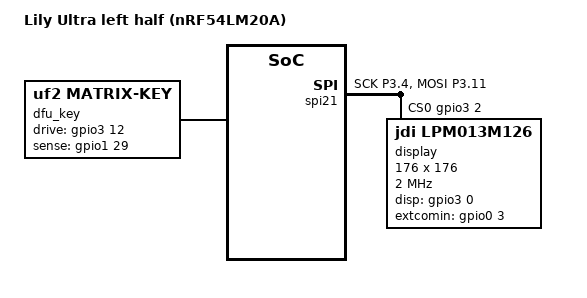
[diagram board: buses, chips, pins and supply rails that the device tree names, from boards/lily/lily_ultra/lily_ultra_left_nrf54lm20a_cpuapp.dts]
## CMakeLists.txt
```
# SPDX-License-Identifier: MIT

cmake_minimum_required(VERSION 3.20.0)

# Lily Ultra board definitions and the uf2,matrix-key binding live here.
list(APPEND BOARD_ROOT ${CMAKE_CURRENT_SOURCE_DIR})
list(APPEND DTS_ROOT ${CMAKE_CURRENT_SOURCE_DIR})

find_package(Zephyr REQUIRED HINTS $ENV{ZEPHYR_BASE})
project(uf2_bootloader LANGUAGES C)

target_sources(app PRIVATE
    src/main.c
    src/vregusb_reset.c
    src/app_image.c
    src/boot_entry.c
    src/uf2_status.c
    src/uf2_writer.c
    src/usbd_setup.c
    src/ghostfat.c
    src/ghostfat_disk.c
    src/board_flash.c
    src/indicator.c
)

target_sources_ifdef(CONFIG_UF2_DISPLAY app PRIVATE
    src/display/lpm_panel.c
    src/display/gfx.c
    src/display/fonts.c
    src/display/ui.c
    src/display/ui_render.c
)

zephyr_linker_sources(SECTIONS src/sections-rom.ld)

target_include_directories(app PRIVATE src)
```

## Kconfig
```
# SPDX-License-Identifier: MIT

mainmenu "UF2 Bootloader"

source "Kconfig.zephyr"

menu "UF2 Bootloader options"

config UF2_USBD_VID
    hex "USB Vendor ID"
    default 0x1915
    help
      Default 0x1915 is Nordic Semiconductor's VID, which Nordic permits
      for development on their parts. The PID below is a placeholder; both
      should be replaced with an assigned VID/PID before shipping. Most
      hosts only key off VID/PID for driver matching.

config UF2_USBD_PID
    hex "USB Product ID"
    default 0x3e85

config UF2_USBD_MANUFACTURER
    string "USB manufacturer string"
    default "ZMK"

config UF2_USBD_PRODUCT
    string "USB product string"
    default "ZMK UF2 Bootloader"

config UF2_DOUBLE_TAP
    bool "Enter DFU on a double reset"
    default y
    help
      On every normal boot, arm the boot-mode flag and wait
      UF2_DOUBLE_TAP_DELAY_MS before starting the app; a second reset
      inside that window enters DFU. Costs that delay on every boot, so
      turn it off on boards without a reset button.

config UF2_DOUBLE_TAP_DELAY_MS
    int "Double-tap detection window (ms)"
    depends on UF2_DOUBLE_TAP
    default 500
    range 100 5000

config UF2_REBOOT_IDLE_MS
    int "Host idle time before rebooting after an update (ms)"
    default 200
    help
      After the image is committed, keep serving the disk and reboot once
      the host has issued no reads or writes for this long, so it can
      finish the copy (directory entry, FAT, final status). Rebooting
      earlier makes Windows report the copy as failed.

config UF2_REBOOT_MAX_MS
    int "Reboot at the latest this long after an update (ms)"
    default 3000
    help
      Upper bound for hosts that keep accessing the disk.

DT_CHOSEN_UF2_DISPLAY := zephyr,display

config UF2_DISPLAY
    bool "Status UI on the JDI LPM013M126A memory LCD"
    default y if $(dt_chosen_enabled,$(DT_CHOSEN_UF2_DISPLAY))
    select SPI
    help
      Show bootloader state and update progress on the display chosen
      as zephyr,display (compatible jdi,lpm013m126). Only used in DFU
      mode; a normal boot never touches the display.

if UF2_DISPLAY

config UF2_DISPLAY_BADGE
    string "Small label at the top of the screen (e.g. LEFT)"
    default ""

endif

config UF2_BOARD_ID
    string "Board ID string for INFO_UF2.TXT"
    default "ZMK-nRF54LM20-v0"

config UF2_PRODUCT_NAME
    string "Product name for INFO_UF2.TXT"
    default "ZMK nRF54LM20 Bootloader"

config UF2_VOLUME_LABEL
    string "FAT volume label (11 chars, padded)"
    default "54LM20BOOT "

config UF2_INDEX_URL
    string "URL placed in INDEX.HTM"
    default "https://zmk.dev/"

config UF2_FAMILY_ID
    hex "UF2 family ID for this board"
    default 0x4ED75C3F
    help
      Unique 32-bit family ID for this board. Used by the host-side UF2
      tooling to refuse images built for a different chip family. Should
      eventually be registered at https://github.com/microsoft/uf2.

config UF2_NUM_BLOCKS
    int "Number of 512-byte sectors in the synthesized FAT16 volume"
    default 65801
    help
      Must result in a FAT16 cluster count >= 0x1015 and < 0xFFD5. The
      default (0x10109) yields a 32 MiB virtual disk, matching tinyuf2.

endmenu
```

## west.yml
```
# Only the modules an nRF54LM20 BL with USB MSC actually needs.
# name-allowlist is more conservative than blocklist — new upstream
# modules can't silently leak in.
#
#   cmsis_6      — Cortex-M33 (nRF54L)
#   hal_nordic   — Nordic Semi HAL (nrfx + soc support)
#   picolibc     — Zephyr's default libc
#   segger       — RTT (still referenced even when console uses UART)
#
# Add more (zcbor, mbedtls, …) here if a build error surfaces them.

manifest:
  remotes:
    - name: upstream
      url-base: https://github.com/zephyrproject-rtos
  projects:
    - name: zephyr
      remote: upstream
      revision: v4.4.2
      import:
        name-allowlist:
          - cmsis_6
          - hal_nordic
          - picolibc
          - segger
  self:
    path: bootloader
```

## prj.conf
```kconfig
CONFIG_USE_DT_CODE_PARTITION=y

CONFIG_USB_DEVICE_STACK_NEXT=y
CONFIG_USBD_MSC_CLASS=y
CONFIG_USBD_MSC_LUNS_PER_INSTANCE=1
# Big SCSI buffers so a high-speed host can stream multi-sector WRITE(10)s;
# with double buffering USB fills one while the other is written to RRAM.
CONFIG_USBD_MSC_SCSI_BUFFER_SIZE=16384
CONFIG_USBD_MSC_DOUBLE_BUFFERING=y

CONFIG_DISK_DRIVERS=y

CONFIG_GPIO=y
CONFIG_PWM=y

CONFIG_FLASH=y
CONFIG_FLASH_MAP=y
CONFIG_STREAM_FLASH=n
# Use the full RRAMC write buffer (32 x 128-bit words) instead of
# committing every word individually.
CONFIG_NRF_RRAM_WRITE_BUFFER_SIZE=32

# Zephyr boot-mode retention (shared with ZMK's &bootloader).
CONFIG_RETAINED_MEM=y
CONFIG_RETENTION=y
CONFIG_RETENTION_BOOT_MODE=y

CONFIG_REBOOT=y
CONFIG_HWINFO=y
CONFIG_CACHE_MANAGEMENT=y

CONFIG_MAIN_STACK_SIZE=2048
CONFIG_SYSTEM_WORKQUEUE_STACK_SIZE=2048

CONFIG_BT=n

CONFIG_LOG=y
CONFIG_LOG_MODE_MINIMAL=y
CONFIG_LOG_DEFAULT_LEVEL=2
CONFIG_USBD_LOG_LEVEL_WRN=y
CONFIG_UDC_DRIVER_LOG_LEVEL_WRN=y

# The bootloader drives the LPM013M126A itself (src/display/lpm_panel.c);
# keep Zephyr's driver for that compatible out.
CONFIG_LPM013M126=n
```

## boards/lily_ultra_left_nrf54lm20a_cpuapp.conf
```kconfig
# No reset button on Lily Ultra: enter DFU with ZMK's &bootloader or by
# holding the outermost top key while plugging in. Skip the boot delay.
CONFIG_UF2_DOUBLE_TAP=n

# No UART broken out; logs go over SWD via RTT.
CONFIG_SERIAL=n
CONFIG_UART_CONSOLE=n
CONFIG_CONSOLE=y
CONFIG_USE_SEGGER_RTT=y
CONFIG_RTT_CONSOLE=y
CONFIG_SEGGER_RTT_BUFFER_SIZE_UP=4096

CONFIG_UF2_BOARD_ID="Lily-Ultra-left-v1"
CONFIG_UF2_PRODUCT_NAME="Lily Ultra (left)"
CONFIG_UF2_USBD_PRODUCT="Lily Ultra UF2 Bootloader"
CONFIG_UF2_USBD_MANUFACTURER="Lily"
CONFIG_UF2_VOLUME_LABEL="LILYULTRA  "
CONFIG_UF2_DISPLAY_BADGE="LEFT"
```

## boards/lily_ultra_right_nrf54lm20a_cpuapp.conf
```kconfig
# No reset button on Lily Ultra: enter DFU with ZMK's &bootloader or by
# holding the outermost top key while plugging in. Skip the boot delay.
CONFIG_UF2_DOUBLE_TAP=n

# No UART broken out; logs go over SWD via RTT.
CONFIG_SERIAL=n
CONFIG_UART_CONSOLE=n
CONFIG_CONSOLE=y
CONFIG_USE_SEGGER_RTT=y
CONFIG_RTT_CONSOLE=y
CONFIG_SEGGER_RTT_BUFFER_SIZE_UP=4096

CONFIG_UF2_BOARD_ID="Lily-Ultra-right-v1"
CONFIG_UF2_PRODUCT_NAME="Lily Ultra (right)"
CONFIG_UF2_USBD_PRODUCT="Lily Ultra UF2 Bootloader"
CONFIG_UF2_USBD_MANUFACTURER="Lily"
CONFIG_UF2_VOLUME_LABEL="LILYULTRA  "
CONFIG_UF2_DISPLAY_BADGE="RIGHT"
```

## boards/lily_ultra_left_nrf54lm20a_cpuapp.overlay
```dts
/*
 * SPDX-License-Identifier: MIT
 *
 * The board links applications into slot0; the bootloader itself lives
 * in boot_partition.
 */

/ {
	chosen {
		zephyr,code-partition = &boot_partition;
	};
};
```

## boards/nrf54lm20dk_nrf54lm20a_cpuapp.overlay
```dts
/*
 * SPDX-License-Identifier: MIT
 *
 * Same layout as Lily Ultra so DK-built apps match:
 *
 *   0x000000  128 KiB   UF2 bootloader
 *   0x020000  1808 KiB  application
 *   0x1e4000  100 KiB   settings storage
 */

/delete-node/ &boot_partition;
/delete-node/ &slot0_partition;
/delete-node/ &slot1_partition;
/delete-node/ &storage_partition;

&cpuapp_rram {
	partitions {
		boot_partition: partition@0 {
			compatible = "zephyr,mapped-partition";
			label = "uf2-bootloader";
			reg = <0x000000 DT_SIZE_K(128)>;
			read-only;
		};

		slot0_partition: partition@20000 {
			compatible = "zephyr,mapped-partition";
			label = "image-0";
			reg = <0x020000 DT_SIZE_K(1808)>;
		};

		storage_partition: partition@1e4000 {
			compatible = "zephyr,mapped-partition";
			label = "storage";
			reg = <0x1e4000 DT_SIZE_K(100)>;
		};
	};
};

&gpregret1 {
	status = "okay";

	boot_mode0: boot_mode@0 {
		compatible = "zephyr,retention";
		status = "okay";
		reg = <0x0 0x1>;
	};
};

/ {
	chosen {
		zephyr,code-partition = &boot_partition;
		zephyr,boot-mode = &boot_mode0;
	};

	/* Hold this button during reset to force DFU mode. */
	aliases {
		dfu-button = &button0;
	};
};
```

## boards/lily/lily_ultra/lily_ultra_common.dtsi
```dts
/*
 * SPDX-License-Identifier: MIT
 *
 * Lily Ultra: split keyboard, one Raytac AN54LM-20A (nRF54LM20A) per half,
 * nPM1300 PMIC, USB-C (USBHS), JDI LPM013M126A display.
 *
 * Shared by both halves. Per-half pins live in the board .dts files.
 */

#include <nordic/nrf54lm20a_cpuapp.dtsi>

/ {
	chosen {
		zephyr,sram = &cpuapp_sram;
		zephyr,flash-controller = &rram_controller;
		zephyr,flash = &cpuapp_rram;
		zephyr,code-partition = &slot0_partition;
		zephyr,boot-mode = &boot_mode0;
	};
};

&cpuapp_sram {
	status = "okay";
};

&hfpll {
	clock-frequency = <DT_FREQ_M(128)>;
};

/*
 * Board Y1/Y2: Epson FC-12M 32.768 kHz, 7 pF load. No external load
 * capacitors are fitted, so use the SoC's internal ones.
 */
&lfxo {
	load-capacitors = "internal";
	load-capacitance-femtofarad = <7000>;
};

/*
 * The 32 MHz crystal is inside the module; Raytac says its load is "already
 * optimized in the module design". TODO: confirm with Raytac whether that
 * means external caps (then use load-capacitors = "external") or the DK's
 * internal 15 pF setting. Matters for radio frequency accuracy, not USB.
 */
&hfxo {
	load-capacitors = "internal";
	load-capacitance-femtofarad = <15000>;
};

/* DCDC inductor and DECD capacitor are inside the module. */
&vregmain {
	status = "okay";
	regulator-initial-mode = <NRF5X_REG_MODE_DCDC>;
};

&vregusb {
	status = "okay";
};

&grtc {
	owned-channels = <0 1 2 3 4 5 6 7 8 9 10 11>;
	child-owned-channels = <3 4 7 8 9 10 11>;
	status = "okay";
};

&clock {
	status = "okay";
};

&gpio0 {
	status = "okay";
};

&gpio1 {
	status = "okay";
};

&gpio3 {
	status = "okay";
};

&gpiote20 {
	status = "okay";
};

&gpiote30 {
	status = "okay";
};

zephyr_udc0: &usbhs {
	status = "okay";
};

/* Zephyr boot-mode retention; ZMK's &bootloader writes this byte. */
&gpregret1 {
	status = "okay";

	boot_mode0: boot_mode@0 {
		compatible = "zephyr,retention";
		status = "okay";
		reg = <0x0 0x1>;
	};
};

/*
 * RRAM layout (2036 KiB). The FLPR core is unused, so its default 96 KiB
 * reservation is given back to the application.
 *
 *   0x000000  128 KiB   UF2 bootloader
 *   0x020000  1808 KiB  application (ZMK)
 *   0x1e4000  100 KiB   settings storage
 */
&cpuapp_rram {
	partitions {
		compatible = "fixed-partitions";
		ranges;
		#address-cells = <1>;
		#size-cells = <1>;

		boot_partition: partition@0 {
			compatible = "zephyr,mapped-partition";
			label = "uf2-bootloader";
			reg = <0x000000 DT_SIZE_K(128)>;
			read-only;
		};

		slot0_partition: partition@20000 {
			compatible = "zephyr,mapped-partition";
			label = "image-0";
			reg = <0x020000 DT_SIZE_K(1808)>;
		};

		storage_partition: partition@1e4000 {
			compatible = "zephyr,mapped-partition";
			label = "storage";
			reg = <0x1e4000 DT_SIZE_K(100)>;
		};
	};
};
```

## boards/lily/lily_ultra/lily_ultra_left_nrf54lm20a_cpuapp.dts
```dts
/*
 * SPDX-License-Identifier: MIT
 *
 * Lily Ultra left half. Pin map: lily-ultra GPIO_ASSIGNMENTS.md (2026-09-12).
 */

/dts-v1/;

#include "lily_ultra_common.dtsi"
#include <zephyr/dt-bindings/gpio/gpio.h>

/ {
	model = "Lily Ultra left half (nRF54LM20A)";
	compatible = "lily,lily-ultra-left";

	/*
	 * Bootloader entry key: the outermost top-row key (row0/col0), held
	 * while plugging in or powering up. The matrix is col2row (diode
	 * cathodes on the rows), so drive the column high and sense the row.
	 */
	chosen {
		zephyr,display = &display;
	};

	dfu_key: dfu-key {
		compatible = "uf2,matrix-key";
		drive-gpios = <&gpio3 12 GPIO_ACTIVE_HIGH>;
		sense-gpios = <&gpio1 29 (GPIO_ACTIVE_HIGH | GPIO_PULL_DOWN)>;
	};
};

&pinctrl {
	spi21_default: spi21_default {
		group1 {
			psels = <NRF_PSEL(SPIM_SCK, 3, 4)>,
				<NRF_PSEL(SPIM_MOSI, 3, 11)>;
		};
	};

	spi21_sleep: spi21_sleep {
		group1 {
			psels = <NRF_PSEL(SPIM_SCK, 3, 4)>,
				<NRF_PSEL(SPIM_MOSI, 3, 11)>;
			low-power-enable;
		};
	};
};

/*
 * JDI LPM013M126A 176x176 8-color memory LCD on the carrier board.
 * SCS is active high. EXTMODE is tied high on the carrier, so EXTCOMIN
 * must toggle while the panel is on (1-140 Hz). P0.03 can later be
 * driven by GRTC PWM for low-power always-on use.
 */
&spi21 {
	status = "okay";
	pinctrl-0 = <&spi21_default>;
	pinctrl-1 = <&spi21_sleep>;
	pinctrl-names = "default", "sleep";
	cs-gpios = <&gpio3 2 GPIO_ACTIVE_HIGH>;

	display: lcd@0 {
		compatible = "jdi,lpm013m126";
		reg = <0>;
		/* JDI: typ 1 MHz, max 2 MHz at 3.0 V. */
		spi-max-frequency = <2000000>;
		/* tsSCS >= 6 us, thSCS >= 2 us. */
		spi-cs-setup-delay-ns = <6000>;
		spi-cs-hold-delay-ns = <2000>;
		width = <176>;
		height = <176>;
		disp-gpios = <&gpio3 0 GPIO_ACTIVE_HIGH>;
		extcomin-gpios = <&gpio0 3 GPIO_ACTIVE_HIGH>;
		extcomin-frequency = <4>;
	};
};
```

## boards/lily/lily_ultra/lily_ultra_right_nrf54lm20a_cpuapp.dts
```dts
/*
 * SPDX-License-Identifier: MIT
 *
 * Lily Ultra right half. Pin map: lily-ultra GPIO_ASSIGNMENTS.md (2026-09-12).
 */

/dts-v1/;

#include "lily_ultra_common.dtsi"
#include <zephyr/dt-bindings/gpio/gpio.h>

/ {
	model = "Lily Ultra right half (nRF54LM20A)";
	compatible = "lily,lily-ultra-right";

	/*
	 * Bootloader entry key: the outermost top-row key (row0/col0), held
	 * while plugging in or powering up. The matrix is col2row (diode
	 * cathodes on the rows), so drive the column high and sense the row.
	 */
	chosen {
		zephyr,display = &display;
	};

	dfu_key: dfu-key {
		compatible = "uf2,matrix-key";
		drive-gpios = <&gpio3 7 GPIO_ACTIVE_HIGH>;
		sense-gpios = <&gpio3 6 (GPIO_ACTIVE_HIGH | GPIO_PULL_DOWN)>;
	};
};

&pinctrl {
	spi21_default: spi21_default {
		group1 {
			psels = <NRF_PSEL(SPIM_SCK, 1, 7)>,
				<NRF_PSEL(SPIM_MOSI, 1, 9)>;
		};
	};

	spi21_sleep: spi21_sleep {
		group1 {
			psels = <NRF_PSEL(SPIM_SCK, 1, 7)>,
				<NRF_PSEL(SPIM_MOSI, 1, 9)>;
			low-power-enable;
		};
	};
};

/*
 * JDI LPM013M126A 176x176 8-color memory LCD on the carrier board.
 * SCS is active high. EXTMODE is tied high on the carrier, so EXTCOMIN
 * must toggle while the panel is on (1-140 Hz). P0.03 can later be
 * driven by GRTC PWM for low-power always-on use.
 */
&spi21 {
	status = "okay";
	pinctrl-0 = <&spi21_default>;
	pinctrl-1 = <&spi21_sleep>;
	pinctrl-names = "default", "sleep";
	cs-gpios = <&gpio1 27 GPIO_ACTIVE_HIGH>;

	display: lcd@0 {
		compatible = "jdi,lpm013m126";
		reg = <0>;
		/* JDI: typ 1 MHz, max 2 MHz at 3.0 V. */
		spi-max-frequency = <2000000>;
		/* tsSCS >= 6 us, thSCS >= 2 us. */
		spi-cs-setup-delay-ns = <6000>;
		spi-cs-hold-delay-ns = <2000>;
		width = <176>;
		height = <176>;
		disp-gpios = <&gpio1 24 GPIO_ACTIVE_HIGH>;
		extcomin-gpios = <&gpio0 3 GPIO_ACTIVE_HIGH>;
		extcomin-frequency = <4>;
	};
};
```

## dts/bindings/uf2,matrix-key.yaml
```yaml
# SPDX-License-Identifier: MIT

description: |
  One key of a diode keyboard matrix, used to force the UF2 bootloader at
  boot. The bootloader drives drive-gpios active and reports the key as held
  if sense-gpios reads active only while it is driven (so a stuck or shorted
  sense line does not trap the board in DFU mode).

compatible: "uf2,matrix-key"

properties:
  drive-gpios:
    type: phandle-array
    required: true
    description: Matrix line to drive (column for col2row).

  sense-gpios:
    type: phandle-array
    required: true
    description: Matrix line to read, with its pull flag (row for col2row).
```

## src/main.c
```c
/*
 * SPDX-License-Identifier: MIT
 *
 * UF2 bootloader entry point.
 *
 *   1. boot_entry_check() decides DFU vs application. USB is not touched
 *      on the normal path, so booting the app costs only Zephyr init.
 *   2. DFU: bring up USB MSC + ghost-FAT. The host drops a .uf2 onto the
 *      volume; uf2_writer validates and writes it, commits the vector
 *      table last, then reboots. The next boot takes path 3.
 *   3. Otherwise chain-load slot0.
 */

#include <zephyr/kernel.h>
#include <zephyr/logging/log.h>
#include <zephyr/usb/usbd.h>
#include <zephyr/usb/class/usbd_msc.h>

#include "app_image.h"
#include "boot_entry.h"
#include "ghostfat_disk.h"
#include "uf2_status.h"
#include "usbd_setup.h"

LOG_MODULE_REGISTER(main, LOG_LEVEL_INF);

USBD_DEFINE_MSC_LUN(uf2, "UF2", "Lily", "UF2 Bootloader", "0.2");

static int run_dfu(void)
{
	int rc;

	if (IS_ENABLED(CONFIG_UF2_DISPLAY)) {
		extern void ui_start(void);

		ui_start(); /* panel init + first frame run on the UI thread */
	}
	rc = uf2_disk_register();

	if (rc) {
		return rc;
	}
	if (!uf2_usbd_init_device()) {
		return -ENODEV;
	}
	uf2_status_set_state(UF2_STATE_WAITING);
	LOG_INF("DFU ready, waiting for USB host");
	return 0;
}

int main(void)
{
	enum uf2_entry_reason reason;

	LOG_INF("UF2 bootloader (" CONFIG_UF2_BOARD_ID ")");

	reason = boot_entry_check();
	if (reason == UF2_ENTRY_NONE) {
		app_image_boot();
	}

	LOG_INF("entering DFU: %s", uf2_entry_reason_str(reason));
	uf2_status_set_reason(reason);
	return run_dfu();
}
```

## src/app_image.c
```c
/*
 * SPDX-License-Identifier: MIT
 *
 * Validation of and chain-load into slot0. Only reached on a boot where
 * USB was never started: after a DFU transfer the bootloader reboots
 * instead of jumping, so the application always inherits a clean chip.
 */

#include <cmsis_core.h>
#include <zephyr/cache.h>
#include <zephyr/devicetree.h>
#include <zephyr/kernel.h>
#include <zephyr/logging/log.h>

#include "app_image.h"

LOG_MODULE_REGISTER(app_image, LOG_LEVEL_INF);

#define SRAM_START DT_REG_ADDR(DT_CHOSEN(zephyr_sram))
#define SRAM_END   (SRAM_START + DT_REG_SIZE(DT_CHOSEN(zephyr_sram)))

bool app_image_valid(void)
{
	const volatile uint32_t *vt = (const volatile uint32_t *)APP_IMAGE_START;
	uint32_t sp = vt[0];
	uint32_t pc = vt[1];
	uint32_t pc_addr = pc & ~1U;

	if (sp == 0xFFFFFFFFU && pc == 0xFFFFFFFFU) {
		return false; /* blank */
	}
	if (sp <= SRAM_START || sp > SRAM_END || (sp & 0x7U) != 0U) {
		LOG_WRN("app SP 0x%08x outside SRAM", sp);
		return false;
	}
	if ((pc & 1U) == 0U || pc_addr < APP_IMAGE_START || pc_addr >= APP_IMAGE_END) {
		LOG_WRN("app reset vector 0x%08x outside slot0", pc);
		return false;
	}
	return true;
}

FUNC_NORETURN void app_image_boot(void)
{
	const uint32_t *vt = (const uint32_t *)APP_IMAGE_START;
	uint32_t sp = vt[0];
	uint32_t pc = vt[1];

	LOG_INF("booting app at 0x%08x", (uint32_t)APP_IMAGE_START);
	/* Give the minimal log backend a moment to drain. */
	k_busy_wait(1000);

	__disable_irq();

	for (size_t i = 0; i < ARRAY_SIZE(NVIC->ICER); i++) {
		NVIC->ICER[i] = 0xFFFFFFFFU;
		NVIC->ICPR[i] = 0xFFFFFFFFU;
	}

	SysTick->CTRL = 0;
	SysTick->VAL = 0;
	SCB->ICSR = SCB_ICSR_PENDSTCLR_Msk | SCB_ICSR_PENDSVCLR_Msk;
	SCB->SHCSR &= ~(SCB_SHCSR_USGFAULTENA_Msk | SCB_SHCSR_BUSFAULTENA_Msk |
			SCB_SHCSR_MEMFAULTENA_Msk | SCB_SHCSR_SECUREFAULTENA_Msk);

	(void)sys_cache_instr_invd_all();
	(void)sys_cache_data_invd_all();

	SCB->VTOR = APP_IMAGE_START;

	/* Zephyr armed stack limits for its own stacks; the app sets its own. */
	__set_PSPLIM(0);
	__set_MSPLIM(0);

	/*
	 * We are on the main thread's PSP. Everything from the stack switch on
	 * stays in one asm block with sp/pc already in registers: no
	 * compiler-generated stack access is valid once CONTROL changes.
	 * End state matches reset: privileged, MSP, no FP context, PSP = 0.
	 */
	__asm__ volatile(
		"movs r2, #0\n"
		"msr control, r2\n"
		"isb\n"
		"msr psp, r2\n"
		"msr msp, %[sp]\n"
		"dsb\n"
		"isb\n"
		"cpsie i\n"
		"bx %[pc]\n"
		:
		: [sp] "r"(sp), [pc] "r"(pc)
		: "r2", "memory");
	CODE_UNREACHABLE;
}
```

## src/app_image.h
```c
/*
 * SPDX-License-Identifier: MIT
 */

#ifndef UF2_APP_IMAGE_H
#define UF2_APP_IMAGE_H

#include <stdbool.h>
#include <stdint.h>
#include <zephyr/storage/flash_map.h>

#define APP_IMAGE_START PARTITION_ADDRESS(slot0_partition)
#define APP_IMAGE_SIZE  PARTITION_SIZE(slot0_partition)
#define APP_IMAGE_END   (APP_IMAGE_START + APP_IMAGE_SIZE)

/* Sanity-check slot0's vector table (initial SP and reset handler). */
bool app_image_valid(void);

/* Tear down bootloader state and branch to slot0. Does not return. */
FUNC_NORETURN void app_image_boot(void);

#endif
```

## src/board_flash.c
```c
/*
 * SPDX-License-Identifier: MIT
 *
 * nRF54LM20 RRAM needs no erase: a write simply replaces the bytes. Writes
 * go through the RRAMC write buffer (CONFIG_NRF_RRAM_WRITE_BUFFER_SIZE).
 */

#include <string.h>

#include <zephyr/cache.h>
#include <zephyr/logging/log.h>
#include <zephyr/storage/flash_map.h>

#include "board_flash.h"

LOG_MODULE_REGISTER(board_flash, LOG_LEVEL_INF);

static const struct flash_area *slot0_fa;

static int slot0_open(void)
{
	if (slot0_fa) {
		return 0;
	}
	int rc = flash_area_open(PARTITION_ID(slot0_partition), &slot0_fa);

	if (rc) {
		LOG_ERR("flash_area_open(slot0): %d", rc);
	}
	return rc;
}

uint32_t board_flash_size(void)
{
	return APP_IMAGE_SIZE;
}

uint32_t board_flash_write_align(void)
{
	return slot0_open() ? 16U : flash_area_align(slot0_fa);
}

bool board_flash_in_slot(uint32_t addr, uint32_t len)
{
	return addr >= APP_IMAGE_START && len <= APP_IMAGE_SIZE &&
	       addr - APP_IMAGE_START <= APP_IMAGE_SIZE - len;
}

void board_flash_read(uint32_t addr, void *buffer, uint32_t len)
{
	if (!board_flash_in_slot(addr, len)) {
		memset(buffer, 0xFF, len);
		return;
	}
	memcpy(buffer, (const void *)(uintptr_t)addr, len);
}

int board_flash_write(uint32_t addr, const void *data, uint32_t len)
{
	int rc = slot0_open();

	if (rc) {
		return rc;
	}
	if (!board_flash_in_slot(addr, len)) {
		return -EINVAL;
	}
	rc = flash_area_write(slot0_fa, addr - APP_IMAGE_START, data, len);
	if (rc) {
		LOG_ERR("write 0x%08x+%u: %d", addr, len, rc);
		return rc;
	}
	/* Reads below go through the CPU cache; drop any stale lines. */
	(void)sys_cache_data_invd_range((void *)(uintptr_t)addr, len);
	return 0;
}
```

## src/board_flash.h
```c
/*
 * SPDX-License-Identifier: MIT
 *
 * slot0 access for the UF2 engine. Addresses are absolute (as in UF2
 * targetAddr); everything outside slot0 is rejected.
 */

#ifndef UF2_BOARD_FLASH_H
#define UF2_BOARD_FLASH_H

#include <stdbool.h>
#include <stdint.h>

#include "app_image.h"

#define BOARD_FLASH_APP_START APP_IMAGE_START

uint32_t board_flash_size(void);
uint32_t board_flash_write_align(void);
bool board_flash_in_slot(uint32_t addr, uint32_t len);
void board_flash_read(uint32_t addr, void *buffer, uint32_t len);
int board_flash_write(uint32_t addr, const void *data, uint32_t len);

#endif /* UF2_BOARD_FLASH_H */
```

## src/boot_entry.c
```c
/*
 * SPDX-License-Identifier: MIT
 *
 * DFU entry decision, in priority order:
 *
 *   1. Boot-mode retention says BOOTLOADER. This is Zephyr's standard
 *      boot-mode API (gpregret byte), which ZMK's &bootloader behavior
 *      writes before sys_reboot(). Always cleared so it fires once.
 *   2. The dfu-key matrix key (compatible "uf2,matrix-key") is held.
 *   3. The dfu-button alias is held.
 *   4. slot0 has no valid vector table.
 *   5. Optional double-tap: arm the same boot-mode flag for a window; a
 *      reset inside the window lands in case 1 on the next boot.
 */

#include <zephyr/kernel.h>
#include <zephyr/devicetree.h>
#include <zephyr/drivers/gpio.h>
#include <zephyr/logging/log.h>
#include <zephyr/retention/bootmode.h>

#include "app_image.h"
#include "boot_entry.h"

LOG_MODULE_REGISTER(boot_entry, LOG_LEVEL_INF);

#define DFU_KEY_NODE DT_INST(0, uf2_matrix_key)
#define DFU_BUTTON_NODE DT_ALIAS(dfu_button)

static bool boot_mode_requested(void)
{
	int rc = bootmode_check(BOOT_MODE_TYPE_BOOTLOADER);

	(void)bootmode_clear();
	return rc > 0;
}

#if DT_NODE_HAS_STATUS_OKAY(DFU_KEY_NODE)
static const struct gpio_dt_spec key_drive = GPIO_DT_SPEC_GET(DFU_KEY_NODE, drive_gpios);
static const struct gpio_dt_spec key_sense = GPIO_DT_SPEC_GET(DFU_KEY_NODE, sense_gpios);

/* One scan: the key counts only if sense follows drive (idle low, driven high). */
static bool dfu_key_sample(void)
{
	int idle, driven;

	(void)gpio_pin_set_dt(&key_drive, 0);
	k_busy_wait(20);
	idle = gpio_pin_get_dt(&key_sense);

	(void)gpio_pin_set_dt(&key_drive, 1);
	k_busy_wait(20);
	driven = gpio_pin_get_dt(&key_sense);

	(void)gpio_pin_set_dt(&key_drive, 0);
	return idle == 0 && driven == 1;
}

static bool dfu_key_held(void)
{
	bool held;

	if (!gpio_is_ready_dt(&key_drive) || !gpio_is_ready_dt(&key_sense) ||
	    gpio_pin_configure_dt(&key_sense, GPIO_INPUT) ||
	    gpio_pin_configure_dt(&key_drive, GPIO_OUTPUT_INACTIVE)) {
		LOG_WRN("dfu-key GPIO setup failed");
		return false;
	}

	/* Two scans 5 ms apart reject contact bounce while plugging in. */
	held = dfu_key_sample();
	if (held) {
		k_busy_wait(5000);
		held = dfu_key_sample();
	}

	(void)gpio_pin_configure_dt(&key_drive, GPIO_DISCONNECTED);
	(void)gpio_pin_configure_dt(&key_sense, GPIO_DISCONNECTED);
	return held;
}
#else
static bool dfu_key_held(void)
{
	return false;
}
#endif

#if DT_NODE_EXISTS(DFU_BUTTON_NODE)
static const struct gpio_dt_spec dfu_button = GPIO_DT_SPEC_GET(DFU_BUTTON_NODE, gpios);

static bool dfu_button_held(void)
{
	bool held;

	if (!gpio_is_ready_dt(&dfu_button) || gpio_pin_configure_dt(&dfu_button, GPIO_INPUT)) {
		return false;
	}
	held = gpio_pin_get_dt(&dfu_button) > 0;
	(void)gpio_pin_configure_dt(&dfu_button, GPIO_DISCONNECTED);
	return held;
}
#else
static bool dfu_button_held(void)
{
	return false;
}
#endif

enum uf2_entry_reason boot_entry_check(void)
{
	if (boot_mode_requested()) {
		/* Also how a double tap arrives; both look the same here. */
		return IS_ENABLED(CONFIG_UF2_DOUBLE_TAP) ? UF2_ENTRY_DOUBLE_TAP
							 : UF2_ENTRY_BOOT_MODE;
	}
	if (dfu_key_held()) {
		return UF2_ENTRY_KEY;
	}
	if (dfu_button_held()) {
		return UF2_ENTRY_BUTTON;
	}
	if (!app_image_valid()) {
		return UF2_ENTRY_NO_APP;
	}

#if defined(CONFIG_UF2_DOUBLE_TAP)
	(void)bootmode_set(BOOT_MODE_TYPE_BOOTLOADER);
	k_busy_wait(CONFIG_UF2_DOUBLE_TAP_DELAY_MS * 1000U);
	(void)bootmode_clear();
#endif
	return UF2_ENTRY_NONE;
}
```

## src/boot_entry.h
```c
/*
 * SPDX-License-Identifier: MIT
 */

#ifndef UF2_BOOT_ENTRY_H
#define UF2_BOOT_ENTRY_H

#include "uf2_status.h"

/* Decide whether to stay in DFU. Returns UF2_ENTRY_NONE to boot the app. */
enum uf2_entry_reason boot_entry_check(void);

#endif
```

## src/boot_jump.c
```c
/*
 * SPDX-License-Identifier: MIT
 *
 * Cortex-M chain-load to the application via SCB->VTOR + MSP swap.
 * Reset vector format:
 *   app_base + 0x00 : initial MSP
 *   app_base + 0x04 : reset handler (Thumb bit set)
 */

#include <stdint.h>

#include <cmsis_core.h>
#include <zephyr/irq.h>
#include <zephyr/kernel.h>
#include <zephyr/logging/log.h>

#include "boot_jump.h"

LOG_MODULE_REGISTER(boot_jump, LOG_LEVEL_INF);

void boot_jump_to_app(uint32_t app_base)
{
    const uint32_t *vt = (const uint32_t *)app_base;
    uint32_t sp = vt[0];
    uint32_t pc = vt[1];

    LOG_INF("chain-loading app at 0x%08x (sp=0x%08x pc=0x%08x)",
            app_base, sp, pc);

    /* irq_lock must come after logging — the LOG subsystem can't make
     * progress with IRQs disabled. */
    irq_lock();
    for (int i = 0; i < CONFIG_NUM_IRQS; i++) {
        irq_disable(i);
    }
    __DSB();
    __ISB();

    SCB->VTOR = app_base;
    __DSB();
    __ISB();

    __set_MSP(sp);
    ((void (*)(void))pc)();

    CODE_UNREACHABLE;
}
```

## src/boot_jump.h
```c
/* SPDX-License-Identifier: MIT */

#ifndef UF2_BOOT_JUMP_H
#define UF2_BOOT_JUMP_H

#include <stdint.h>

/*
 * Chain-load the application image starting at app_base. Does not
 * return on success.
 */
void boot_jump_to_app(uint32_t app_base);

#endif
```

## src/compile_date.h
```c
/*
 * SPDX-License-Identifier: MIT
 *
 * Compile-time date macros, used by ghostfat to stamp directory entries.
 * Verbatim from tinyuf2 (MIT, Henry Gabryjelski + Adafruit).
 */

#ifndef COMPILE_DATE_H
#define COMPILE_DATE_H

#ifndef COMPILE_DATE
  #define COMPILE_DATE __DATE__
#endif
#ifndef COMPILE_TIME
  #define COMPILE_TIME __TIME__
#endif

#define COMPILE_YEAR_INT ((( \
  (COMPILE_DATE [ 7u] - '0')  * 10u + \
  (COMPILE_DATE [ 8u] - '0')) * 10u + \
  (COMPILE_DATE [ 9u] - '0')) * 10u + \
  (COMPILE_DATE [10u] - '0'))

#define COMPILE_MONTH_INT  ( \
    (COMPILE_DATE [2u] == 'n' && COMPILE_DATE [1u] == 'a') ?  1u  /*Jan*/ \
  : (COMPILE_DATE [2u] == 'b'                            ) ?  2u  /*Feb*/ \
  : (COMPILE_DATE [2u] == 'r' && COMPILE_DATE [1u] == 'a') ?  3u  /*Mar*/ \
  : (COMPILE_DATE [2u] == 'r'                            ) ?  4u  /*Apr*/ \
  : (COMPILE_DATE [2u] == 'y'                            ) ?  5u  /*May*/ \
  : (COMPILE_DATE [2u] == 'n'                            ) ?  6u  /*Jun*/ \
  : (COMPILE_DATE [2u] == 'l'                            ) ?  7u  /*Jul*/ \
  : (COMPILE_DATE [2u] == 'g'                            ) ?  8u  /*Aug*/ \
  : (COMPILE_DATE [2u] == 'p'                            ) ?  9u  /*Sep*/ \
  : (COMPILE_DATE [2u] == 't'                            ) ? 10u  /*Oct*/ \
  : (COMPILE_DATE [2u] == 'v'                            ) ? 11u  /*Nov*/ \
  :                                                          12u  /*Dec*/ )

#define COMPILE_DAY_INT ( \
   (COMPILE_DATE [4u] == ' ' ? 0 : COMPILE_DATE [4u] - '0') * 10u + \
   (COMPILE_DATE [5u] - '0')                                             \
   )

#define COMPILE_HOUR_INT ( \
   (COMPILE_TIME [0u] == '?' ? 0 : COMPILE_TIME [0u] - '0') * 10u \
 + (COMPILE_TIME [1u] == '?' ? 0 : COMPILE_TIME [1u] - '0')       )

#define COMPILE_MINUTE_INT ( \
   (COMPILE_TIME [3u] == '?' ? 0 : COMPILE_TIME [3u] - '0') * 10u \
 + (COMPILE_TIME [4u] == '?' ? 0 : COMPILE_TIME [4u] - '0')       )

#define COMPILE_SECONDS_INT ( \
   (COMPILE_TIME [6u] == '?' ? 0 : COMPILE_TIME [6u] - '0') * 10u \
 + (COMPILE_TIME [7u] == '?' ? 0 : COMPILE_TIME [7u] - '0')       )

#define COMPILE_DOS_DATE ( \
    ((COMPILE_YEAR_INT  - 1980u) << 9u) | \
    ( COMPILE_MONTH_INT          << 5u) | \
    ( COMPILE_DAY_INT            << 0u) )

#define COMPILE_DOS_TIME ( \
    ( COMPILE_HOUR_INT    << 11u) | \
    ( COMPILE_MINUTE_INT  <<  5u) | \
    ( COMPILE_SECONDS_INT <<  0u) )

#endif
```

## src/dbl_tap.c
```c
/*
 * SPDX-License-Identifier: MIT
 *
 * Double-tap reset boot trigger.
 *
 * One 32-bit word in noinit RAM persists across warm resets. The protocol:
 *
 *   - If the word is DBL_TAP_MAGIC at startup, the user just hit reset
 *     twice in quick succession (or an application set the flag and
 *     issued sys_reboot()): clear the flag and enter DFU mode.
 *
 *   - If the word is DBL_TAP_MAGIC_QUICK_BOOT, an application requested
 *     a fast skip-the-window boot path: clear and jump straight to the
 *     application.
 *
 *   - Otherwise this is a normal cold boot or a single tap of reset.
 *     Write the magic, hold an LED hint and busy-wait for the configured
 *     window. If a second reset arrives during the window, the magic
 *     stays set and the next boot enters DFU. If it doesn't, clear the
 *     magic and fall through to the application.
 *
 * Additionally: if slot0 looks empty (reset vector reads as 0xFFFFFFFF),
 * we always enter DFU regardless of the magic, so a freshly-erased
 * device is always usable.
 */

#include <zephyr/kernel.h>
#include <zephyr/sys/util.h>
#include <zephyr/logging/log.h>
#include <zephyr/drivers/gpio.h>

#include "board_flash.h"
#include "dbl_tap.h"

/*
 * Optional GPIO trigger: if an `aliases { dfu-button = ...; }` exists
 * in DT and the pin reads asserted at boot, force DFU regardless of
 * the noinit magic or slot0 state. Useful on dev boards where the
 * reset button doesn't preserve SRAM across resets.
 */
#define DFU_BUTTON_NODE DT_ALIAS(dfu_button)
#if DT_NODE_EXISTS(DFU_BUTTON_NODE)
#define HAS_DFU_BUTTON 1
static const struct gpio_dt_spec dfu_button =
    GPIO_DT_SPEC_GET(DFU_BUTTON_NODE, gpios);
#else
#define HAS_DFU_BUTTON 0
#endif

LOG_MODULE_REGISTER(dbl_tap, LOG_LEVEL_INF);

/*
 * Placed in .noinit so the loader leaves it untouched across warm
 * resets. The address must NOT live in a region that gets zeroed by
 * the SoC reset (cpuapp_sram is zeroed only by the .bss init code, not
 * by the SoC itself).
 */
static uint32_t __noinit dbl_tap_mark;

static bool app_present(void)
{
    /* The reset vector of a Zephyr image lives at slot0+0 (initial MSP)
     * and slot0+4 (reset handler PC). A freshly-erased RRAM region
     * reads as 0xFFFFFFFF. If either of the first two words is all-ones
     * we treat the slot as empty.
     */
    uint32_t sp, pc;
    board_flash_read(BOARD_FLASH_APP_START + 0, &sp, sizeof(sp));
    board_flash_read(BOARD_FLASH_APP_START + 4, &pc, sizeof(pc));
    return (sp != 0xFFFFFFFFU) && (pc != 0xFFFFFFFFU);
}

static bool dfu_button_pressed(void)
{
#if HAS_DFU_BUTTON
    if (!gpio_is_ready_dt(&dfu_button)) {
        return false;
    }
    int rc = gpio_pin_configure_dt(&dfu_button, GPIO_INPUT);
    if (rc) {
        return false;
    }
    /* gpio_pin_get_dt honours the GPIO_ACTIVE_LOW flag from DT, so a
     * non-zero return means the button is asserted regardless of
     * electrical polarity.
     */
    return gpio_pin_get_dt(&dfu_button) > 0;
#else
    return false;
#endif
}

bool dbl_tap_should_enter_dfu(void)
{
    uint32_t mark = dbl_tap_mark;
    dbl_tap_mark = 0;

    if (dfu_button_pressed()) {
        LOG_INF("DFU button held -> DFU");
        return true;
    }

    if (!app_present()) {
        LOG_INF("slot0 is empty -> DFU");
        return true;
    }

    switch (mark) {
    case DBL_TAP_MAGIC:
        LOG_INF("double-tap detected -> DFU");
        return true;
    case DBL_TAP_MAGIC_QUICK_BOOT:
        LOG_INF("quick boot requested -> app");
        return false;
    default:
        break;
    }

    /* Arm the double-tap window. If the user releases and taps reset
     * again during the wait, the next boot will enter DFU above.
     */
    dbl_tap_mark = DBL_TAP_MAGIC;
    LOG_INF("arming double-tap window (%d ms)", CONFIG_UF2_DBL_TAP_DELAY_MS);
    k_busy_wait(CONFIG_UF2_DBL_TAP_DELAY_MS * 1000U);
    dbl_tap_mark = 0;

    return false;
}
```

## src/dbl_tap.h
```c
/* SPDX-License-Identifier: MIT */

#ifndef UF2_DBL_TAP_H
#define UF2_DBL_TAP_H

#include <stdbool.h>

/* Magic values written to the noinit RAM word that survives warm resets.
 * Compatible with Adafruit/tinyuf2 so external tooling that writes these
 * values (e.g. from an application "&bootloader" behavior) behaves the
 * same on this bootloader as on existing nRF52 UF2 bootloaders.
 */
#define DBL_TAP_MAGIC            0xf01669efU  /* enter DFU on next boot */
#define DBL_TAP_MAGIC_QUICK_BOOT 0xf02669efU  /* skip the 500 ms window */

/* Returns true if the bootloader should enter DFU mode (USB MSC up).
 * Returns false if it should chain-load slot0. Side effect: also arms
 * the double-tap window when in the "first reset" case.
 */
bool dbl_tap_should_enter_dfu(void);

#endif
```

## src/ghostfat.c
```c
/*
 * SPDX-License-Identifier: MIT
 *
 * Ghost-FAT — synthesizes a FAT16 volume on the fly and exposes the
 * application flash region as a single CURRENT.UF2 file. Writes to
 * CURRENT.UF2 (i.e. UF2 blocks dropped onto the volume by the host) are
 * parsed and dispatched to board_flash_write().
 *
 * Ported from tinyuf2/src/ghostfat.c (MIT, Microsoft + Adafruit +
 * Henry Gabryjelski).
 */

#include <string.h>
#include <stdio.h>
#include <inttypes.h>

#include <zephyr/logging/log.h>

#include "compile_date.h"
#include "board_flash.h"
#include "uf2.h"

LOG_MODULE_REGISTER(ghostfat, LOG_LEVEL_INF);

#define TINYUF2_CONST

#define STATIC_ASSERT(_exp) _Static_assert(_exp, "static assert failed")

#define UF2_ARRAY_SIZE(_arr)    (sizeof(_arr) / sizeof(_arr[0]))
#define UF2_DIV_CEIL(_v, _d)    (((_v) / (_d)) + ((_v) % (_d) ? 1 : 0))

typedef struct {
    uint8_t  JumpInstruction[3];
    uint8_t  OEMInfo[8];
    uint16_t SectorSize;
    uint8_t  SectorsPerCluster;
    uint16_t ReservedSectors;
    uint8_t  FATCopies;
    uint16_t RootDirectoryEntries;
    uint16_t TotalSectors16;
    uint8_t  MediaDescriptor;
    uint16_t SectorsPerFAT;
    uint16_t SectorsPerTrack;
    uint16_t Heads;
    uint32_t HiddenSectors;
    uint32_t TotalSectors32;
    uint8_t  PhysicalDriveNum;
    uint8_t  Reserved;
    uint8_t  ExtendedBootSig;
    uint32_t VolumeSerialNumber;
    uint8_t  VolumeLabel[11];
    uint8_t  FilesystemIdentifier[8];
} __attribute__((packed)) FAT_BootBlock;

typedef struct {
    char     name[8];
    char     ext[3];
    uint8_t  attrs;
    uint8_t  reserved;
    uint8_t  createTimeFine;
    uint16_t createTime;
    uint16_t createDate;
    uint16_t lastAccessDate;
    uint16_t highStartCluster;
    uint16_t updateTime;
    uint16_t updateDate;
    uint16_t startCluster;
    uint32_t size;
} __attribute__((packed)) DirEntry;
STATIC_ASSERT(sizeof(DirEntry) == 32);

typedef struct FileContent {
    char const   name[11];
    void const  *content;
    uint32_t     size;

    uint16_t cluster_start;
    uint16_t cluster_end;
} FileContent_t;

static uint32_t _flash_size;

#define BPB_SECTOR_SIZE           (512)
#define BPB_SECTORS_PER_CLUSTER   (CFG_UF2_SECTORS_PER_CLUSTER)
#define BPB_RESERVED_SECTORS      (1)
#define BPB_NUMBER_OF_FATS        (2)
#define BPB_ROOT_DIR_ENTRIES      (64)
#define BPB_TOTAL_SECTORS         CFG_UF2_NUM_BLOCKS
#define BPB_MEDIA_DESCRIPTOR_BYTE (0xF8)
#define FAT_ENTRY_SIZE            (2)
#define FAT_ENTRIES_PER_SECTOR    (BPB_SECTOR_SIZE / FAT_ENTRY_SIZE)
#define FAT_END_OF_CHAIN          (0xFFFF)

#define TOTAL_CLUSTERS_ROUND_UP   UF2_DIV_CEIL(BPB_TOTAL_SECTORS, BPB_SECTORS_PER_CLUSTER)
#define BPB_SECTORS_PER_FAT       UF2_DIV_CEIL(TOTAL_CLUSTERS_ROUND_UP, FAT_ENTRIES_PER_SECTOR)
#define DIRENTRIES_PER_SECTOR     (BPB_SECTOR_SIZE/sizeof(DirEntry))
#define ROOT_DIR_SECTOR_COUNT     UF2_DIV_CEIL(BPB_ROOT_DIR_ENTRIES, DIRENTRIES_PER_SECTOR)
#define BPB_BYTES_PER_CLUSTER     (BPB_SECTOR_SIZE * BPB_SECTORS_PER_CLUSTER)

STATIC_ASSERT((BPB_SECTORS_PER_CLUSTER & (BPB_SECTORS_PER_CLUSTER-1)) == 0);
STATIC_ASSERT(BPB_SECTOR_SIZE                              ==       512);
STATIC_ASSERT(BPB_NUMBER_OF_FATS                           ==         2);
STATIC_ASSERT(sizeof(DirEntry)                             ==        32);
STATIC_ASSERT(BPB_SECTOR_SIZE % sizeof(DirEntry)           ==         0);
STATIC_ASSERT(BPB_ROOT_DIR_ENTRIES % DIRENTRIES_PER_SECTOR ==         0);
STATIC_ASSERT(BPB_BYTES_PER_CLUSTER                        <= (32*1024));
STATIC_ASSERT(FAT_ENTRIES_PER_SECTOR                       ==       256);

#define UF2_FIRMWARE_BYTES_PER_SECTOR   256
#define UF2_SECTOR_COUNT                (_flash_size / UF2_FIRMWARE_BYTES_PER_SECTOR)
#define UF2_BYTE_COUNT                  (UF2_SECTOR_COUNT * BPB_SECTOR_SIZE)

static char infoUf2File[128*3] =
    "UF2 Bootloader v0.1\r\n"
    "Model: " CONFIG_UF2_PRODUCT_NAME "\r\n"
    "Board-ID: " CONFIG_UF2_BOARD_ID "\r\n"
    "Date: " COMPILE_DATE "\r\n"
    "Flash Size: 0x";

static TINYUF2_CONST char indexFile[] =
    "<!doctype html>\n"
    "<html><body><script>\n"
    "location.replace(\"" CONFIG_UF2_INDEX_URL "\");\n"
    "</script></body></html>\n";

static FileContent_t info[] = {
    {.name = "INFO_UF2TXT", .content = infoUf2File, .size = sizeof(infoUf2File) - 1},
    {.name = "INDEX   HTM", .content = indexFile,   .size = sizeof(indexFile) - 1},
    /* CURRENT.UF2 must be last and content must be NULL — generated on demand. */
    {.name = "CURRENT UF2", .content = NULL,        .size = 0},
};

enum {
    NUM_FILES = sizeof(info) / sizeof(info[0]),
    NUM_DIRENTRIES = NUM_FILES + 1,
};

enum {
    FID_INFO = 0,
    FID_INDEX = 1,
    FID_UF2 = NUM_FILES - 1,
};

STATIC_ASSERT(NUM_DIRENTRIES < BPB_ROOT_DIR_ENTRIES);
STATIC_ASSERT(NUM_DIRENTRIES < DIRENTRIES_PER_SECTOR);

#define NUM_SECTORS_IN_DATA_REGION (BPB_TOTAL_SECTORS - BPB_RESERVED_SECTORS - \
                                    (BPB_NUMBER_OF_FATS * BPB_SECTORS_PER_FAT) - \
                                    ROOT_DIR_SECTOR_COUNT)
#define CLUSTER_COUNT              (NUM_SECTORS_IN_DATA_REGION / BPB_SECTORS_PER_CLUSTER)

STATIC_ASSERT(CLUSTER_COUNT >= 0x0FF5 && CLUSTER_COUNT < 0xFFF5);
STATIC_ASSERT(CLUSTER_COUNT >= 0x1015 && CLUSTER_COUNT < 0xFFD5);

#define FS_START_FAT0_SECTOR      BPB_RESERVED_SECTORS
#define FS_START_FAT1_SECTOR      (FS_START_FAT0_SECTOR + BPB_SECTORS_PER_FAT)
#define FS_START_ROOTDIR_SECTOR   (FS_START_FAT1_SECTOR + BPB_SECTORS_PER_FAT)
#define FS_START_CLUSTERS_SECTOR  (FS_START_ROOTDIR_SECTOR + ROOT_DIR_SECTOR_COUNT)

static FAT_BootBlock TINYUF2_CONST BootBlock = {
    .JumpInstruction      = {0xeb, 0x3c, 0x90},
    .OEMInfo              = "UF2 UF2 ",
    .SectorSize           = BPB_SECTOR_SIZE,
    .SectorsPerCluster    = BPB_SECTORS_PER_CLUSTER,
    .ReservedSectors      = BPB_RESERVED_SECTORS,
    .FATCopies            = BPB_NUMBER_OF_FATS,
    .RootDirectoryEntries = BPB_ROOT_DIR_ENTRIES,
    .TotalSectors16       = (BPB_TOTAL_SECTORS > 0xFFFF) ? 0 : BPB_TOTAL_SECTORS,
    .MediaDescriptor      = BPB_MEDIA_DESCRIPTOR_BYTE,
    .SectorsPerFAT        = BPB_SECTORS_PER_FAT,
    .SectorsPerTrack      = 1,
    .Heads                = 1,
    .TotalSectors32       = (BPB_TOTAL_SECTORS > 0xFFFF) ? BPB_TOTAL_SECTORS : 0,
    .PhysicalDriveNum     = 0x80,
    .ExtendedBootSig      = 0x29,
    .VolumeSerialNumber   = 0x00420042,
    .VolumeLabel          = CONFIG_UF2_VOLUME_LABEL,
    .FilesystemIdentifier = "FAT16   ",
};

static void init_starting_clusters(void)
{
    uint16_t start_cluster = 2;

    for (uint16_t i = 0; i < NUM_FILES; i++) {
        info[i].cluster_start = start_cluster;
        info[i].cluster_end = start_cluster +
            UF2_DIV_CEIL(info[i].size, BPB_SECTOR_SIZE * BPB_SECTORS_PER_CLUSTER) - 1;
        start_cluster = info[i].cluster_end + 1;
    }
}

static uint32_t info_index_of(uint32_t cluster)
{
    if (cluster >= 0xFFF0) {
        return FID_UF2;
    }
    for (uint32_t i = 0; i < NUM_FILES; i++) {
        if ((info[i].cluster_start <= cluster) && (cluster <= info[i].cluster_end)) {
            return i;
        }
    }
    return FID_UF2;
}

static void u32_to_hexstr(uint32_t value, char *buffer)
{
    static const char hexDigits[] = "0123456789ABCDEF";
    size_t i;

    for (i = 0; i < 8; i++) {
        buffer[i] = hexDigits[(value >> (28 - i * 4)) & 0xF];
    }
    buffer[i] = '\0';
}

void uf2_init(void)
{
    _flash_size = board_flash_size();

    info[FID_UF2].size = UF2_BYTE_COUNT;

    size_t txt_len = strlen(infoUf2File);
    size_t const max_len = sizeof(infoUf2File) - 1;
    if (max_len - txt_len > 8) {
        u32_to_hexstr(_flash_size, infoUf2File + txt_len);
        txt_len += 8;
        if (max_len - txt_len > 6) {
            strcpy(infoUf2File + txt_len, " bytes");
            txt_len += 6;
        }
    }
    info[FID_INFO].size = txt_len;

    init_starting_clusters();

    LOG_INF("UF2 init: flash=%u total_sectors=%u sectors_per_fat=%u clusters=%u",
            _flash_size, BPB_TOTAL_SECTORS, BPB_SECTORS_PER_FAT, CLUSTER_COUNT);
}

static void padded_memcpy(char *dst, char const *src, int len)
{
    for (int i = 0; i < len; ++i) {
        *dst++ = *src ? *src++ : ' ';
        (void)0;
    }
}

void uf2_read_block(uint32_t block_no, uint8_t *data)
{
    memset(data, 0, BPB_SECTOR_SIZE);
    uint32_t sectionRelativeSector = block_no;

    if (block_no == 0) {
        memcpy(data, &BootBlock, sizeof(BootBlock));
        data[510] = 0x55;
        data[511] = 0xaa;
    } else if (block_no < FS_START_ROOTDIR_SECTOR) {
        sectionRelativeSector -= FS_START_FAT0_SECTOR;
        if (sectionRelativeSector >= BPB_SECTORS_PER_FAT) {
            sectionRelativeSector -= BPB_SECTORS_PER_FAT;
        }

        uint16_t *data16 = (uint16_t *)(void *)data;
        uint32_t sectorFirstCluster = sectionRelativeSector * FAT_ENTRIES_PER_SECTOR;
        uint32_t firstUnusedCluster = info[FID_UF2].cluster_end + 1;

        for (uint16_t i = 0; i < FAT_ENTRIES_PER_SECTOR; i++) {
            uint32_t cluster = i + sectorFirstCluster;
            data16[i] = (cluster >= firstUnusedCluster) ? 0 : cluster + 1;
        }

        if (sectionRelativeSector == 0) {
            data[0] = BPB_MEDIA_DESCRIPTOR_BYTE;
            data[1] = 0xff;
            data16[1] = FAT_END_OF_CHAIN;
        }

        for (uint32_t i = 0; i < NUM_FILES; i++) {
            uint32_t lastClusterOfFile = info[i].cluster_end;
            if (lastClusterOfFile >= sectorFirstCluster) {
                uint32_t idx = lastClusterOfFile - sectorFirstCluster;
                if (idx < FAT_ENTRIES_PER_SECTOR) {
                    data16[idx] = FAT_END_OF_CHAIN;
                }
            }
        }
    } else if (block_no < FS_START_CLUSTERS_SECTOR) {
        sectionRelativeSector -= FS_START_ROOTDIR_SECTOR;

        DirEntry *d = (void *)data;
        int remainingEntries = DIRENTRIES_PER_SECTOR;
        uint32_t startingFileIndex;

        if (sectionRelativeSector == 0) {
            padded_memcpy(d->name, (char const *)BootBlock.VolumeLabel, 11);
            d->attrs = 0x28;
            d++;
            remainingEntries--;
            startingFileIndex = 0;
        } else {
            startingFileIndex = DIRENTRIES_PER_SECTOR * sectionRelativeSector - 1;
        }

        for (uint32_t fileIndex = startingFileIndex;
             remainingEntries > 0 && fileIndex < NUM_FILES;
             fileIndex++, d++) {
            uint32_t const startCluster = info[fileIndex].cluster_start;
            FileContent_t const *inf = &info[fileIndex];

            padded_memcpy(d->name, inf->name, 11);
            d->createTimeFine   = COMPILE_SECONDS_INT % 2 * 100;
            d->createTime       = COMPILE_DOS_TIME;
            d->createDate       = COMPILE_DOS_DATE;
            d->lastAccessDate   = COMPILE_DOS_DATE;
            d->highStartCluster = startCluster >> 16;
            d->updateTime       = COMPILE_DOS_TIME;
            d->updateDate       = COMPILE_DOS_DATE;
            d->startCluster     = startCluster & 0xFFFF;
            d->size             = (inf->content ? inf->size : UF2_BYTE_COUNT);
        }
    } else if (block_no < BPB_TOTAL_SECTORS) {
        sectionRelativeSector -= FS_START_CLUSTERS_SECTOR;

        uint32_t fid = info_index_of(2 + sectionRelativeSector / BPB_SECTORS_PER_CLUSTER);
        FileContent_t const *inf = &info[fid];

        uint32_t fileRelativeSector = sectionRelativeSector -
            (info[fid].cluster_start - 2) * BPB_SECTORS_PER_CLUSTER;

        if (fid != FID_UF2) {
            size_t fileContentStartOffset = fileRelativeSector * BPB_SECTOR_SIZE;
            size_t fileContentLength = inf->size;

            if (fileContentLength > fileContentStartOffset) {
                const void *dataStart = ((const uint8_t *)inf->content) + fileContentStartOffset;
                size_t bytesToCopy = fileContentLength - fileContentStartOffset;
                if (bytesToCopy > BPB_SECTOR_SIZE) {
                    bytesToCopy = BPB_SECTOR_SIZE;
                }
                memcpy(data, dataStart, bytesToCopy);
            }
        } else {
            uint32_t addr = BOARD_FLASH_APP_START + (fileRelativeSector * UF2_FIRMWARE_BYTES_PER_SECTOR);
            if (addr < (BOARD_FLASH_APP_START + _flash_size)) {
                UF2_Block *bl = (void *)data;
                bl->magicStart0 = UF2_MAGIC_START0;
                bl->magicStart1 = UF2_MAGIC_START1;
                bl->magicEnd    = UF2_MAGIC_END;
                bl->blockNo     = fileRelativeSector;
                bl->numBlocks   = UF2_SECTOR_COUNT;
                bl->targetAddr  = addr;
                bl->payloadSize = UF2_FIRMWARE_BYTES_PER_SECTOR;
                bl->flags       = UF2_FLAG_FAMILYID;
                bl->familyID    = BOARD_UF2_FAMILY_ID;

                board_flash_read(addr, bl->data, bl->payloadSize);
            }
        }
    }
}
```
